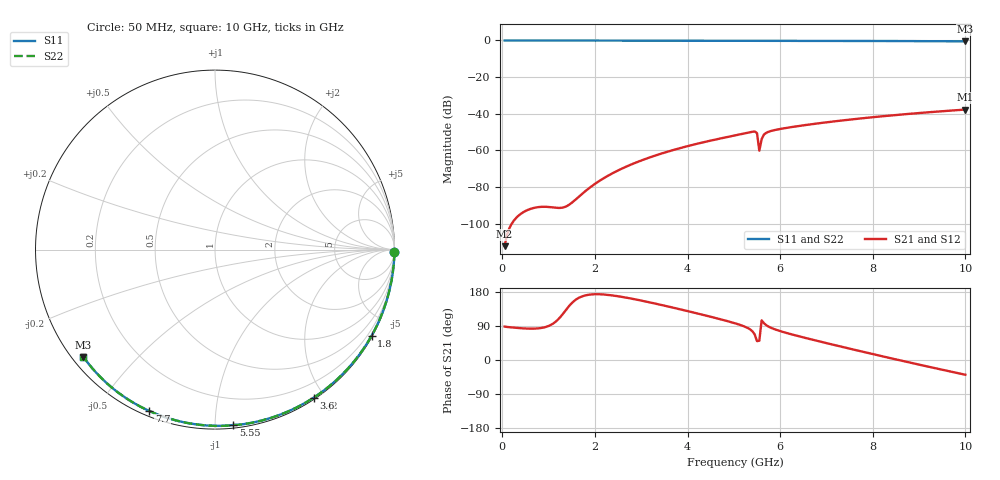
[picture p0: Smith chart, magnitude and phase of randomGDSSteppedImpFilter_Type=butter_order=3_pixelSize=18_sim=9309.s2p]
! freq	dB(S11)	phase(S11)	dB(S12)	phase(S12)
!  dB(S21)	phase(S21)	dB(S22)	phase(S22)
!S-par simulation data
#  GHz  S  DB  R 50
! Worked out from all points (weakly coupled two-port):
!   200 points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, 50 MHz to 10 GHz, reference 50 ohm
!   highest |S21| = -37.72 dB at 10 GHz (marker M1); lowest = -112.3 dB at 50 MHz (marker M2)
!   lowest |S11| = -0.5 dB at 10 GHz (marker M3), VSWR 36.08, Z = 1.56 - j17.8 ohm
!   |S11| at or under -10 dB: nowhere
!   |S22| runs from -0.5 to 0.0 dB; largest |S21 - S12| = 0
!   S11 on the Smith chart (normalised r, x): 50 MHz: open; 1.8 GHz: 0.03, -3.89; 3.6 GHz: 0.02, -1.87; 5.55 GHz: 0.02, -1.11; 7.7 GHz: 0.02, -0.67; 10 GHz: 0.03, -0.36
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0.05  -0.00 -0.8  -112.32 88.3  -112.32 88.3  -0.00 -0.8
0.9  -0.02 -14.5  -90.81 85.9  -90.81 85.9  -0.02 -14.5
1.75  -0.04 -28.0  -83.18 169.0  -83.18 169.0  -0.04 -28.0
1.8  -0.04 -28.8  -82.13 170.7  -82.13 170.7  -0.04 -28.8
1.9  -0.04 -30.4  -80.15 172.8  -80.15 172.8  -0.04 -30.4
2.25  -0.05 -35.8  -74.32 172.2  -74.32 172.2  -0.05 -35.8
2.65  -0.05 -42.0  -69.18 165.1  -69.18 165.1  -0.05 -42.0
3.4  -0.07 -53.3  -62.04 146.2  -62.04 146.2  -0.07 -53.3
3.6  -0.08 -56.3  -60.49 140.6  -60.49 140.6  -0.08 -56.3
4.25  -0.09 -65.8  -56.14 121.7  -56.14 121.7  -0.09 -65.8
5.05  -0.12 -77.1  -51.73 96.0  -51.73 96.0  -0.12 -77.1
5.45  -0.14 -82.7  -49.69 67.6  -49.69 67.6  -0.14 -82.7
5.5  -0.14 -83.4  -50.57 49.8  -50.57 49.8  -0.14 -83.4
5.55  -0.16 -84.0  -60.19 50.8  -60.19 50.8  -0.16 -84.0
5.6  -0.15 -84.6  -53.93 104.5  -53.93 104.5  -0.15 -84.6
5.65  -0.15 -85.3  -51.39 97.2  -51.39 97.2  -0.15 -85.3
5.7  -0.15 -86.0  -50.41 91.9  -50.41 91.9  -0.15 -86.0
6  -0.16 -90.0  -48.33 76.3  -48.33 76.3  -0.16 -90.0
6.7  -0.19 -99.3  -45.66 53.5  -45.66 53.5  -0.19 -99.3
7.7  -0.26 -112.1  -42.68 24.2  -42.68 24.2  -0.26 -112.1
8.35  -0.31 -120.3  -41.05 5.7  -41.05 5.7  -0.31 -120.3
10  -0.48 -140.8  -37.72 -38.9  -37.72 -38.9  -0.48 -140.8
